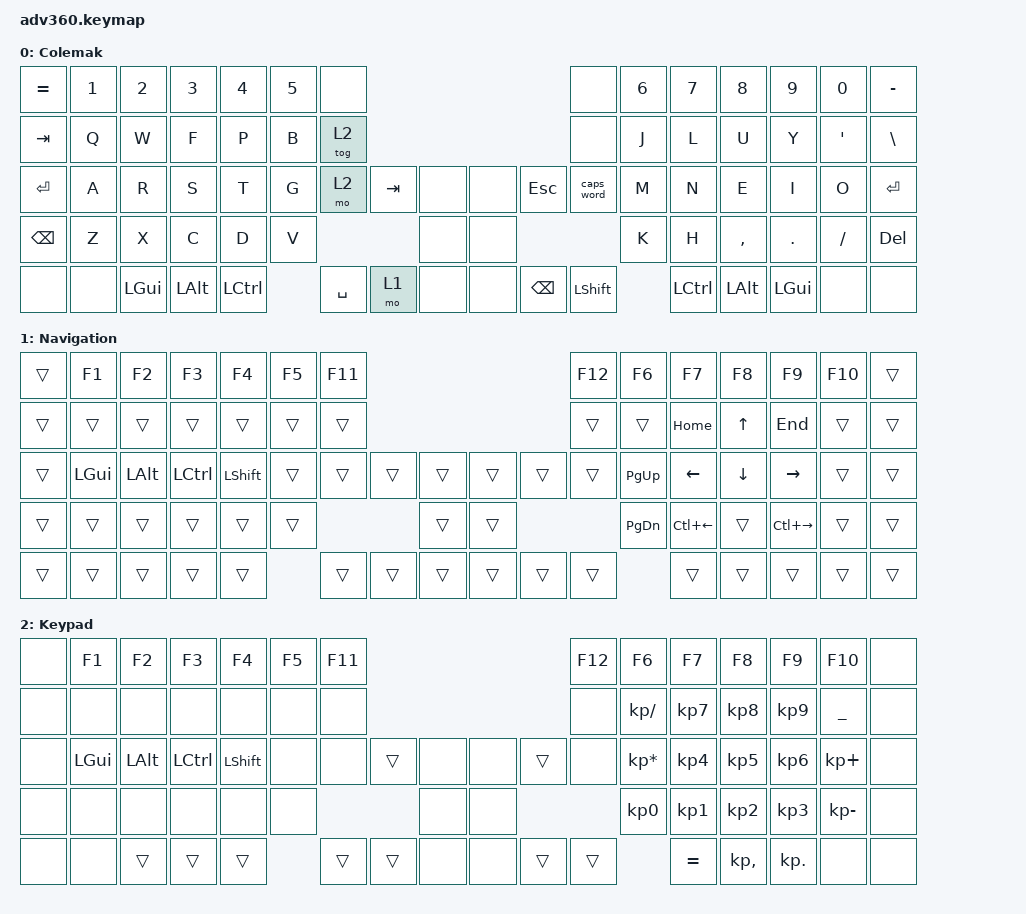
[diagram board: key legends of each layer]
#include <behaviors.dtsi>
#include <dt-bindings/zmk/keys.h>

/ {
    behaviors {
        #include "macros.dtsi"
      #include "version.dtsi"
      #ifndef VERSION_MACRO

        macro_ver: macro_ver {
            compatible = "zmk,behavior-macro";
            label = "macro_version";
            #binding-cells = <0>;
            bindings = <&kp RET>;
        };

        #endif

        hm: homerow_mods {
            compatible = "zmk,behavior-hold-tap";
            label = "HOMEROW_MODS";
            #binding-cells = <2>;
            tapping-term-ms = <200>;
            quick_tap_ms = <175>;
            flavor = "tap-preferred";
            bindings = <&kp>, <&kp>;
        };

        kesc: kesc {
            compatible = "zmk,behavior-tap-dance";
            label = "KESC";
            #binding-cells = <0>;
            bindings = <&kp K>, <&kp ESCAPE>;
        };

        hrm: hrm {
            compatible = "zmk,behavior-hold-tap";
            label = "HRM";
            bindings = <&mo>, <&kp>;

            #binding-cells = <2>;
            tapping-term-ms = <175>;
            hold-while-undecided;
            hold-while-undecided-linger;
        };
    };

    combos {
        compatible = "zmk,combos";

        lparen {
            bindings = <&kp LEFT_PARENTHESIS>;
            key-positions = <41 42>;
        };

        rparen {
            bindings = <&kp RIGHT_PARENTHESIS>;
            key-positions = <42 43>;
        };

        rbrace {
            bindings = <&kp RIGHT_BRACE>;
            key-positions = <32 31>;
        };

        lbrace {
            bindings = <&kp LEFT_BRACE>;
            key-positions = <31 30>;
        };

        lbracket {
            bindings = <&kp LEFT_BRACKET>;
            key-positions = <55 56>;
        };

        rbracket {
            bindings = <&kp RIGHT_BRACKET>;
            key-positions = <57 56>;
        };

        gt {
            bindings = <&kp GREATER_THAN>;
            key-positions = <50 49>;
        };

        lt {
            bindings = <&kp LESS_THAN>;
            key-positions = <49 48>;
        };

        underscore {
            bindings = <&kp UNDERSCORE>;
            key-positions = <55 42>;
        };

        colon {
            bindings = <&kp COLON>;
            key-positions = <41 54>;
        };
    };

    macros {
    };

    keymap {
        compatible = "zmk,keymap";

        Colemak {
            bindings = <
&kp EQUAL      &kp N1  &kp N2    &kp N3    &kp N4     &kp N5  &none                                                &none           &kp N6  &kp N7     &kp N8     &kp N9    &kp N0    &kp MINUS
&kp TAB        &kp Q   &kp W     &kp F     &kp P      &kp B   &tog 2                                               &none           &kp J   &kp L      &kp U      &kp Y     &kp SQT   &kp BSLH
&kp ENTER      &kp A   &kp R     &kp S     &kp T      &kp G   &mo 2      &kp TAB  &none      &none  &kp ESCAPE     &caps_word      &kp M   &kp N      &kp E      &kp I     &kp O     &kp ENTER
&kp BACKSPACE  &kp Z   &kp X     &kp C     &kp D      &kp V                       &none      &none                                 &kp K   &kp H      &kp COMMA  &kp DOT   &kp FSLH  &kp DELETE
&none          &none   &kp LGUI  &kp LALT  &kp LCTRL          &kp SPACE  &mo 1    &none      &none  &kp BACKSPACE  &kp LEFT_SHIFT          &kp LCTRL  &kp LALT   &kp LGUI  &none     &none
            >;
        };

        Navigation {
            bindings = <
&trans  &kp F1        &kp F2        &kp F3            &kp F4          &kp F5  &kp F11                                      &kp F12  &kp F6         &kp F7              &kp F8          &kp F9               &kp F10  &trans
&trans  &trans        &trans        &trans            &trans          &trans  &trans                                       &trans   &trans         &kp HOME            &kp UP_ARROW    &kp END              &trans   &trans
&trans  &kp LEFT_GUI  &kp LEFT_ALT  &kp LEFT_CONTROL  &kp LEFT_SHIFT  &trans  &trans   &trans  &trans      &trans  &trans  &trans   &kp PAGE_UP    &kp LEFT_ARROW      &kp DOWN_ARROW  &kp RIGHT_ARROW      &trans   &trans
&trans  &trans        &trans        &trans            &trans          &trans                   &trans      &trans                   &kp PAGE_DOWN  &kp LC(LEFT_ARROW)  &trans          &kp LC(RIGHT_ARROW)  &trans   &trans
&trans  &trans        &trans        &trans            &trans                  &trans   &trans  &trans      &trans  &trans  &trans                  &trans              &trans          &trans               &trans   &trans
            >;
        };

        Keypad {
            bindings = <
&none  &kp F1    &kp F2    &kp F3     &kp F4     &kp F5  &kp F11                                    &kp F12  &kp F6           &kp F7     &kp F8        &kp F9      &kp F10         &none
&none  &none     &none     &none      &none      &none   &none                                      &none    &kp KP_DIVIDE    &kp KP_N7  &kp KP_N8     &kp KP_N9   &kp UNDERSCORE  &none
&none  &kp LGUI  &kp LALT  &kp LCTRL  &kp LSHFT  &none   &none    &trans  &none      &none  &trans  &none    &kp KP_MULTIPLY  &kp KP_N4  &kp KP_N5     &kp KP_N6   &kp KP_PLUS     &none
&none  &none     &none     &none      &none      &none                    &none      &none                   &kp KP_N0        &kp KP_N1  &kp KP_N2     &kp KP_N3   &kp KP_MINUS    &none
&none  &none     &trans    &trans     &trans             &trans   &trans  &none      &none  &trans  &trans                    &kp EQUAL  &kp KP_COMMA  &kp KP_DOT  &none           &none
            >;
        };
    };
};
